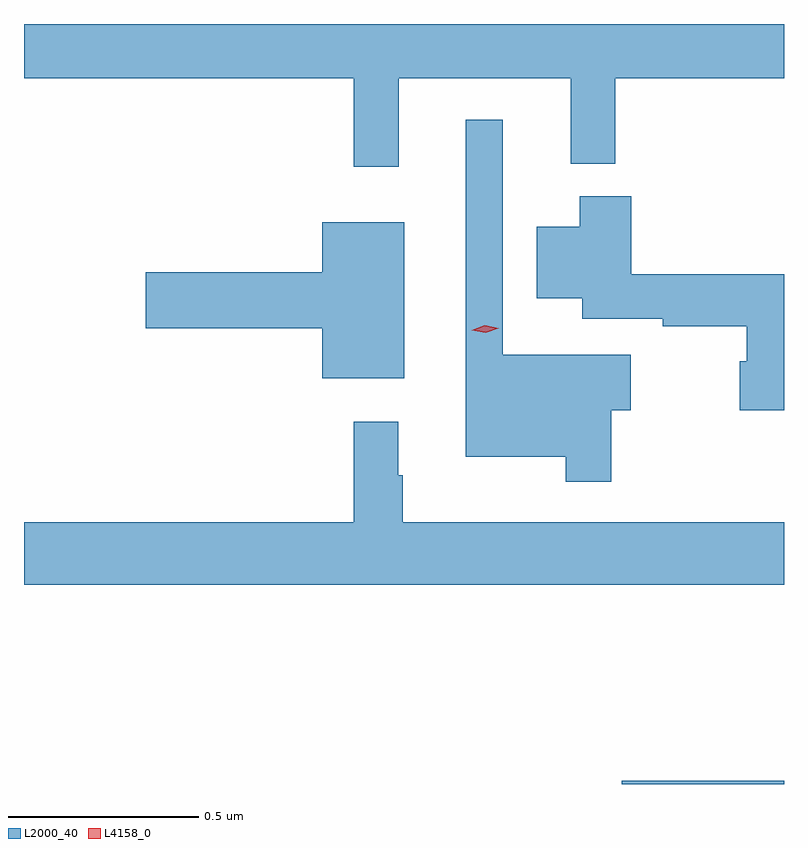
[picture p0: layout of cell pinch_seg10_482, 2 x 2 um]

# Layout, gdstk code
import gdstk
lib = gdstk.Library(unit=1e-6, precision=1e-09)
def R(c, l, rs):  # rectangles x0, y0, x1, y1
    for r in rs: c.add(gdstk.rectangle(r[:2], r[2:], *l))
def P(c, l, *ps):  # polygons
    for p in ps: c.add(gdstk.Polygon(p, *l))
L2000_40 = (2000, 40)
L4158_0 = (4158, 0)

pinch_seg10_482 = lib.new_cell('pinch_seg10_482')
R(pinch_seg10_482, L2000_40, [(343.522,1302.455,343.949,1302.464)])
P(pinch_seg10_482, L2000_40, [(342.935,1304.312),(343.388,1304.312),(343.388,1304.087),(343.505,1304.087),(343.505,1304.312),(343.949,1304.312),(343.949,1304.455),(341.949,1304.455),(341.949,1304.312),(342.817,1304.312),(342.817,1304.079),(342.935,1304.079)],
  [(343.495,1303.438),(343.546,1303.438),(343.546,1303.585),(343.209,1303.585),(343.209,1304.203),(343.112,1304.203),(343.112,1303.316),(343.374,1303.316),(343.374,1303.251),(343.495,1303.251)],
  [(343.949,1303.796),(343.547,1303.796),(343.547,1304.002),(343.412,1304.002),(343.412,1303.921),(343.298,1303.921),(343.298,1303.733),(343.418,1303.733),(343.418,1303.68),(343.63,1303.68),(343.63,1303.66),(343.851,1303.66),(343.851,1303.567),(343.832,1303.567),(343.832,1303.438),(343.949,1303.438)],
  [(342.949,1303.933),(342.734,1303.933),(342.734,1303.802),(342.27,1303.802),(342.27,1303.655),(342.734,1303.655),(342.734,1303.523),(342.949,1303.523)],
  [(343.949,1303.144),(342.946,1303.144),(342.946,1303.268),(342.934,1303.268),(342.934,1303.408),(342.817,1303.408),(342.817,1303.144),(341.949,1303.144),(341.949,1302.98),(343.949,1302.98)])
P(pinch_seg10_482, L4158_0, [(343.164,1303.642),(343.127,1303.649),(343.127,1303.649),(343.127,1303.649),(343.162,1303.662),(343.198,1303.654),(343.198,1303.654),(343.198,1303.654)])

lib.write_gds('pinch_seg10_482.gds')
